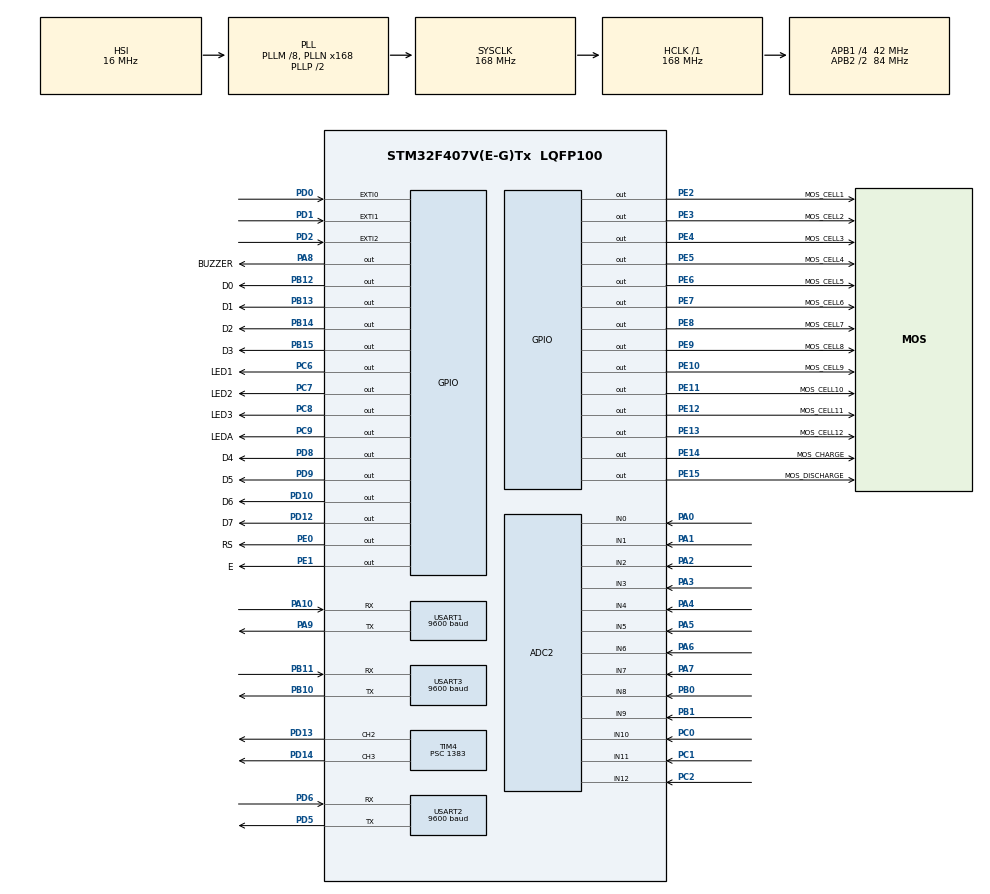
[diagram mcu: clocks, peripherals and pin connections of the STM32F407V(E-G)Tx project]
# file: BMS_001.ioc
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ADC2.Channel-0\#ChannelRegularConversion=ADC_CHANNEL_0
ADC2.Channel-1\#ChannelRegularConversion=ADC_CHANNEL_1
ADC2.Channel-10\#ChannelRegularConversion=ADC_CHANNEL_10
ADC2.Channel-11\#ChannelRegularConversion=ADC_CHANNEL_11
ADC2.Channel-12\#ChannelRegularConversion=ADC_CHANNEL_12
ADC2.Channel-2\#ChannelRegularConversion=ADC_CHANNEL_2
ADC2.Channel-3\#ChannelRegularConversion=ADC_CHANNEL_3
ADC2.Channel-4\#ChannelRegularConversion=ADC_CHANNEL_4
ADC2.Channel-5\#ChannelRegularConversion=ADC_CHANNEL_5
ADC2.Channel-6\#ChannelRegularConversion=ADC_CHANNEL_6
ADC2.Channel-7\#ChannelRegularConversion=ADC_CHANNEL_7
ADC2.Channel-8\#ChannelRegularConversion=ADC_CHANNEL_8
ADC2.Channel-9\#ChannelRegularConversion=ADC_CHANNEL_9
ADC2.ContinuousConvMode=ENABLE
ADC2.DMAContinuousRequests=ENABLE
ADC2.InjNumberOfConversion=0
ADC2.NbrOfConversion=13
ADC2.NbrOfConversionFlag=1
ADC2.Rank-0\#ChannelRegularConversion=1
ADC2.Rank-1\#ChannelRegularConversion=2
ADC2.Rank-10\#ChannelRegularConversion=11
ADC2.Rank-11\#ChannelRegularConversion=12
ADC2.Rank-12\#ChannelRegularConversion=13
ADC2.Rank-2\#ChannelRegularConversion=3
ADC2.Rank-3\#ChannelRegularConversion=4
ADC2.Rank-4\#ChannelRegularConversion=5
ADC2.Rank-5\#ChannelRegularConversion=6
ADC2.Rank-6\#ChannelRegularConversion=7
ADC2.Rank-7\#ChannelRegularConversion=8
ADC2.Rank-8\#ChannelRegularConversion=9
ADC2.Rank-9\#ChannelRegularConversion=10
ADC2.SamplingTime-0\#ChannelRegularConversion=ADC_SAMPLETIME_112CYCLES
ADC2.SamplingTime-1\#ChannelRegularConversion=ADC_SAMPLETIME_112CYCLES
ADC2.SamplingTime-10\#ChannelRegularConversion=ADC_SAMPLETIME_112CYCLES
ADC2.SamplingTime-11\#ChannelRegularConversion=ADC_SAMPLETIME_112CYCLES
ADC2.SamplingTime-12\#ChannelRegularConversion=ADC_SAMPLETIME_112CYCLES
ADC2.SamplingTime-2\#ChannelRegularConversion=ADC_SAMPLETIME_112CYCLES
ADC2.SamplingTime-3\#ChannelRegularConversion=ADC_SAMPLETIME_112CYCLES
ADC2.SamplingTime-4\#ChannelRegularConversion=ADC_SAMPLETIME_112CYCLES
ADC2.SamplingTime-5\#ChannelRegularConversion=ADC_SAMPLETIME_112CYCLES
ADC2.SamplingTime-6\#ChannelRegularConversion=ADC_SAMPLETIME_112CYCLES
ADC2.SamplingTime-7\#ChannelRegularConversion=ADC_SAMPLETIME_112CYCLES
ADC2.SamplingTime-8\#ChannelRegularConversion=ADC_SAMPLETIME_112CYCLES
ADC2.SamplingTime-9\#ChannelRegularConversion=ADC_SAMPLETIME_112CYCLES
ADC2.ScanConvMode=ENABLE
Dma.ADC2.0.Direction=DMA_PERIPH_TO_MEMORY
Dma.ADC2.0.FIFOMode=DMA_FIFOMODE_DISABLE
Dma.ADC2.0.Instance=DMA2_Stream2
Dma.ADC2.0.MemDataAlignment=DMA_MDATAALIGN_WORD
Dma.ADC2.0.MemInc=DMA_MINC_ENABLE
Dma.ADC2.0.Mode=DMA_CIRCULAR
Dma.ADC2.0.PeriphDataAlignment=DMA_PDATAALIGN_WORD
Dma.ADC2.0.PeriphInc=DMA_PINC_DISABLE
Dma.ADC2.0.Priority=DMA_PRIORITY_LOW
Dma.Request0=ADC2
Mcu.Family=STM32F4
Mcu.Name=STM32F407V(E-G)Tx
Mcu.Package=LQFP100
NVIC.DMA2_Stream2_IRQn=true\:0\:0\:false\:false\:true\:false\:true
NVIC.EXTI0_IRQn=true\:0\:0\:false\:false\:true\:true\:true
NVIC.EXTI1_IRQn=true\:0\:0\:false\:false\:true\:true\:true
NVIC.EXTI2_IRQn=true\:0\:0\:false\:false\:true\:true\:true
NVIC.PriorityGroup=NVIC_PRIORITYGROUP_4
NVIC.TIM4_IRQn=true\:0\:0\:false\:false\:true\:true\:true
PA0-WKUP.Signal=ADCx_IN0
PA1.Signal=ADCx_IN1
PA10.Mode=Asynchronous
PA10.Signal=USART1_RX
PA2.Signal=ADCx_IN2
PA3.Signal=ADCx_IN3
PA4.Signal=ADCx_IN4
PA5.Signal=ADCx_IN5
PA6.Signal=ADCx_IN6
PA7.Signal=ADCx_IN7
PA8.GPIO_Label=BUZZER
PA8.Signal=GPIO_Output
PA9.Mode=Asynchronous
PA9.Signal=USART1_TX
PB0.Signal=ADCx_IN8
PB1.Signal=ADCx_IN9
PB10.Mode=Asynchronous
PB10.Signal=USART3_TX
PB11.Mode=Asynchronous
PB11.Signal=USART3_RX
PB12.GPIO_Label=D0
PB12.Signal=GPIO_Output
PB13.GPIO_Label=D1
PB13.Signal=GPIO_Output
PB14.GPIO_Label=D2
PB14.Signal=GPIO_Output
PB15.GPIO_Label=D3
PB15.Signal=GPIO_Output
PC0.Signal=ADCx_IN10
PC1.Signal=ADCx_IN11
PC2.Signal=ADCx_IN12
PC6.GPIO_Label=LED1
PC6.Signal=GPIO_Output
PC7.GPIO_Label=LED2
PC7.Signal=GPIO_Output
PC8.GPIO_Label=LED3
PC8.Signal=GPIO_Output
PC9.GPIO_Label=LEDA
PC9.Signal=GPIO_Output
PD0.Signal=GPXTI0
PD1.Signal=GPXTI1
PD10.GPIO_Label=D6
PD10.Signal=GPIO_Output
PD12.GPIO_Label=D7
PD12.Signal=GPIO_Output
PD13.Signal=S_TIM4_CH2
PD14.Signal=S_TIM4_CH3
PD2.Signal=GPXTI2
PD5.Mode=Asynchronous
PD5.Signal=USART2_TX
PD6.Mode=Asynchronous
PD6.Signal=USART2_RX
PD8.GPIO_Label=D4
PD8.Signal=GPIO_Output
PD9.GPIO_Label=D5
PD9.Signal=GPIO_Output
PE0.GPIO_Label=RS
PE0.Signal=GPIO_Output
PE1.GPIO_Label=E
PE1.Signal=GPIO_Output
PE10.GPIO_Label=MOS_CELL9
PE10.Signal=GPIO_Output
PE11.GPIO_Label=MOS_CELL10
PE11.Signal=GPIO_Output
PE12.GPIO_Label=MOS_CELL11
PE12.Signal=GPIO_Output
PE13.GPIO_Label=MOS_CELL12
PE13.Signal=GPIO_Output
PE14.GPIO_Label=MOS_CHARGE
PE14.Signal=GPIO_Output
PE15.GPIO_Label=MOS_DISCHARGE
PE15.Signal=GPIO_Output
PE2.GPIO_Label=MOS_CELL1
PE2.Signal=GPIO_Output
PE3.GPIO_Label=MOS_CELL2
PE3.Signal=GPIO_Output
PE4.GPIO_Label=MOS_CELL3
PE4.Signal=GPIO_Output
PE5.GPIO_Label=MOS_CELL4
PE5.Signal=GPIO_Output
PE6.GPIO_Label=MOS_CELL5
PE6.Signal=GPIO_Output
PE7.GPIO_Label=MOS_CELL6
PE7.Signal=GPIO_Output
PE8.GPIO_Label=MOS_CELL7
PE8.Signal=GPIO_Output
PE9.GPIO_Label=MOS_CELL8
PE9.Signal=GPIO_Output
PH0-OSC_IN.Mode=HSE-External-Oscillator
PH0-OSC_IN.Signal=RCC_OSC_IN
PH1-OSC_OUT.Mode=HSE-External-Oscillator
PH1-OSC_OUT.Signal=RCC_OSC_OUT
ProjectManager.HeapSize=0x200
ProjectManager.StackSize=0x400
ProjectManager.TargetToolchain=STM32CubeIDE
RCC.48MHZClocksFreq_Value=84000000
RCC.AHBFreq_Value=168000000
RCC.APB1CLKDivider=RCC_HCLK_DIV4
RCC.APB1Freq_Value=42000000
RCC.APB1TimFreq_Value=84000000
RCC.APB2CLKDivider=RCC_HCLK_DIV2
RCC.APB2Freq_Value=84000000
RCC.APB2TimFreq_Value=168000000
RCC.CortexFreq_Value=168000000
RCC.HCLKFreq_Value=168000000
RCC.HSE_VALUE=25000000
RCC.HSI_VALUE=16000000
RCC.LSE_VALUE=32768
RCC.PLLM=8
RCC.PLLN=168
RCC.SYSCLKFreq_VALUE=168000000
RCC.SYSCLKSource=RCC_SYSCLKSOURCE_PLLCLK
RCC.VCOOutputFreq_Value=336000000
SH.ADCx_IN0.0=ADC2_IN0,IN0
SH.ADCx_IN1.0=ADC2_IN1,IN1
SH.ADCx_IN10.0=ADC2_IN10,IN10
SH.ADCx_IN11.0=ADC2_IN11,IN11
SH.ADCx_IN12.0=ADC2_IN12,IN12
SH.ADCx_IN2.0=ADC2_IN2,IN2
SH.ADCx_IN3.0=ADC2_IN3,IN3
SH.ADCx_IN4.0=ADC2_IN4,IN4
SH.ADCx_IN5.0=ADC2_IN5,IN5
SH.ADCx_IN6.0=ADC2_IN6,IN6
SH.ADCx_IN7.0=ADC2_IN7,IN7
SH.ADCx_IN8.0=ADC2_IN8,IN8
SH.ADCx_IN9.0=ADC2_IN9,IN9
SH.S_TIM4_CH2.0=TIM4_CH2,PWM Generation2 CH2
SH.S_TIM4_CH3.0=TIM4_CH3,PWM Generation3 CH3
TIM4.Channel-PWM\ Generation2\ CH2=TIM_CHANNEL_2
TIM4.Channel-PWM\ Generation3\ CH3=TIM_CHANNEL_3
TIM4.Period=254
TIM4.Prescaler=1383
USART1.BaudRate=9600
USART1.VirtualMode=VM_ASYNC
USART2.BaudRate=9600
USART2.VirtualMode=VM_ASYNC
USART3.BaudRate=9600
USART3.VirtualMode=VM_ASYNC
board=custom

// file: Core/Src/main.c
/* USER CODE BEGIN Header */
/**
 ******************************************************************************
 * @file           : main.c
 * @brief          : Main program body
 ******************************************************************************
 * @attention
 *
 * <h2><center>&copy; Copyright (c) 2021 STMicroelectronics.
 * All rights reserved.</center></h2>
 *
 * This software component is licensed by ST under BSD 3-Clause license,
 * the "License"; You may not use this file except in compliance with the
 * License. You may obtain a copy of the License at:
 *                        opensource.org/licenses/BSD-3-Clause
 *
 ******************************************************************************
 */
/* USER CODE END Header */
#include "main.h"

/* USER CODE BEGIN Includes */

#include "stdio.h"
#include "STM_MY_LCD16X2.h"
#include "math.h"
#include "string.h"

/* USER CODE END Includes */

ADC_HandleTypeDef hadc2;
DMA_HandleTypeDef hdma_adc2;

TIM_HandleTypeDef htim4;

UART_HandleTypeDef huart1;
UART_HandleTypeDef huart2;
UART_HandleTypeDef huart3;

/* USER CODE BEGIN PV */

#define VOLTSIZE 12
#define ADCSIZE 13
#define DATASIZE 12	// /f space data(5) space /n /r

#define MEMORY 10

// Loop variables

int i=0, j=0, d=0;
int adc_buffer[ADCSIZE];
int countFlag=0;

float tmp=0;

int testNumber=0;
int selectItem=0;

int redData=0;
int blueData=0;
int greenData=0;

int lowestVoltageIndexDummy = 0;

// Main variables

int adcValues[ADCSIZE] = {0};

double voltVal[VOLTSIZE] = {0};

int voltintVal[VOLTSIZE] = {0};

char voltData[VOLTSIZE][DATASIZE];
char voltValueArray[DATASIZE];

int lowestVoltageIndex = 0;
int highestVoltageIndex = 0;

float softTemp = 0;

int tempValue = 0;
int tempValueOndalik = 0;
int currentValue = 0;
int currentValueOndalik = 0;
int currentValueYuzdelik = 0;

uint8_t getData[MEMORY];
uint8_t mData[MEMORY];

uint8_t testText[]="usart test edildi. \r\n ";

int lowestcellVoltage = 0;
int highestcellVoltage = 0;

/* USER CODE END PV */

void SystemClock_Config(void);
static void MX_GPIO_Init(void);
static void MX_DMA_Init(void);
static void MX_ADC2_Init(void);
static void MX_USART1_UART_Init(void);
static void MX_USART2_UART_Init(void);
static void MX_USART3_UART_Init(void);
static void MX_TIM4_Init(void);

/* USER CODE BEGIN 0 */

void adcRead(ADC_HandleTypeDef* hadc)
{
	if(hadc->Instance == ADC2)
	{
		for(d=0; d<=ADCSIZE; d++)
		{
			adcValues[d] = adc_buffer[d];

		}
	}
}

void adctoArray(void)
{
	int k=0;
	while(k<VOLTSIZE)
	{
		voltVal[k]= ( adcValues[k] * 4.2 / 4096 ) ;
		k++;
	}

	float Rt=0;
	float Rp=10000;
	float T2=273.15+25;
	float Bx=3950;
	float Ka=273.15;
	float vol=0;
	vol=(float)((adcValues[12])*(3.3/4096));
	Rt=(3.3-vol)*10000/vol;
	softTemp =1/(1/T2+log(Rt/Rp)/Bx)-Ka+0.5;

	tempValue = softTemp ;
	int tempValueOndalikDummy = softTemp*10 ;
	tempValueOndalik = tempValueOndalikDummy %10;

	currentValue = adcValues[13];
}

void doublevoltValtoInteger(void)
{
		int k=0;
		while(k<VOLTSIZE)
		{
			int voltDummy;
			voltDummy = voltVal[k] * 100 ;
			voltintVal[k] = voltDummy ;
			k++;
		}
}

void voltstoDigit(void)
{
	int digitBindebirler;
	int digitBindeonlar;
	int digitBindeyuzler;
	int digitTamkisim;

	for(i=0; i<=VOLTSIZE ; i++)
	{
		digitTamkisim = voltVal[i] ; // double to float
		voltData[i][0] = digitTamkisim +48;

		voltData[i][1]='.';

		digitBindeyuzler = voltVal[i] * 1000;
		digitBindeyuzler = digitBindeyuzler % 1000 / 100 ;
		voltData[i][2] =  digitBindeyuzler +48;

		digitBindeonlar = voltVal[i] * 1000;
		digitBindeonlar = digitBindeonlar % 100 / 10 ;
		voltData[i][3] =  digitBindeonlar +48;

		digitBindebirler = voltVal[i] * 1000;
		digitBindebirler = digitBindebirler % 10;
		voltData[i][4] =  digitBindebirler +48;
	}

}

void datatoArray(int dataNumber)
{
		voltValueArray[0]= 12;
		voltValueArray[1]= 32;
		voltValueArray[7]= 32;
		voltValueArray[8]= 10;
		voltValueArray[9]= 13;

		for(i=0 ; i<=4; i++)
		{
			voltValueArray[i+2]=voltData[dataNumber][i];
		}

}

int lowestVoltage_Conf(int *voltValues)
{
	int lowestVoltage = voltValues[0] ;
	int indexLow=0;
	for(i=0; i<VOLTSIZE ; i++ )
	{
		if( voltValues[i] <  lowestVoltage )
		{
			 lowestVoltage = voltValues[i];
			 indexLow=i;
		}
	}
	lowestVoltageIndex = indexLow ;
	return lowestVoltage;
}

int highestVoltage_Conf(int *voltValues)
{
	int highestVoltage = voltValues[0] ;
	int indexHigh=0;
	for(i=0; i<VOLTSIZE ; i++ )
	{
		if( voltValues[i] >  highestVoltage )
		{
			highestVoltage = voltValues[i];
			indexHigh=i;
		}
	}
	highestVoltageIndex = indexHigh ;
	return highestVoltage;
}

void dataSend(void)
{
			sprintf(mData,"\f TEMPERATURE : %d.%d \n\r",tempValue,tempValueOndalik); // sıcaklık degiskeni dataya aktarıldı
			HAL_UART_Transmit(&huart2, (uint8_t*)mData , strlen(mData), 1000);

			sprintf(mData,"\f CURRENT : %d.%d%d \n\r",currentValue%10,currentValueOndalik,currentValueYuzdelik); // sıcaklık degiskeni dataya aktarıldı
			HAL_UART_Transmit(&huart2, (uint8_t*)mData , strlen(mData), 1000);

			HAL_Delay(10);

			for(j=0; j<VOLTSIZE; j++)
			{
				sprintf(mData,"\f CELL %d : \r",j+1);
				HAL_UART_Transmit(&huart2, (uint8_t*)mData , strlen(mData), 1000);
				datatoArray(j);
				HAL_UART_Transmit(&huart2, (char*)voltValueArray , strlen(voltValueArray), 1000);
				HAL_GPIO_WritePin(GPIOC, GPIO_PIN_8, GPIO_PIN_RESET);
				HAL_Delay(25);
				HAL_GPIO_WritePin(GPIOC, GPIO_PIN_8, GPIO_PIN_SET);
			}

			sprintf(mData,"\f HCVI : %d \n\r",highestVoltageIndex + 1);
			HAL_UART_Transmit(&huart2, (uint8_t*)mData , strlen(mData), 1000);
			sprintf(mData,"\f HCVV : %d.%d \n\r",highestcellVoltage/100,highestcellVoltage%100);
			HAL_UART_Transmit(&huart2, (uint8_t*)mData , strlen(mData), 1000);
			sprintf(mData,"\f LCVI : %d \n\r",lowestVoltageIndex + 1 );
			HAL_UART_Transmit(&huart2, (uint8_t*)mData , strlen(mData), 1000);
			sprintf(mData,"\f LCVV : %d.%d \n\r",lowestcellVoltage/100,lowestcellVoltage%100);
			HAL_UART_Transmit(&huart2, (uint8_t*)mData , strlen(mData), 1000);
			sprintf(mData,"\f RGBCOLOR RED:%d BLUE:%d GREEN:%d \n\r",redData, blueData, greenData);
			HAL_UART_Transmit(&huart2, (uint8_t*)mData , strlen(mData), 1000);
}

void dataprintLCD(void)
{
	int selectedData = 0;
	selectedData = selectItem ;
	if(selectedData>12)
	{
		selectedData=0;
		selectItem=0;
	}
	switch(selectedData)
	{
	case 0:
		LCD1602_setCursor(1, 1);
		LCD1602_print("HUCRE 1=");
		LCD1602_setCursor(1, 10);
		LCD1602_print(voltData[0]);
		LCD1602_setCursor(1, 15);
		LCD1602_print("V");
		break;
	case 1:
		LCD1602_setCursor(1, 1);
		LCD1602_print("HUCRE 2=");
		LCD1602_setCursor(1, 10);
		LCD1602_print(voltData[1]);
		LCD1602_setCursor(1, 15);
		LCD1602_print("V");
		break;
	case 2:
		LCD1602_setCursor(1, 1);
		LCD1602_print("HUCRE 3=");
		LCD1602_setCursor(1, 10);
		LCD1602_print(voltData[2]);
		LCD1602_setCursor(1, 15);
		LCD1602_print("V");
		break;
	case 3:
		LCD1602_setCursor(1, 1);
		LCD1602_print("HUCRE 4=");
		LCD1602_setCursor(1, 10);
		LCD1602_print(voltData[3]);
		LCD1602_setCursor(1, 15);
		LCD1602_print("V");
		break;
	case 4:
		LCD1602_setCursor(1, 1);
		LCD1602_print("HUCRE 5=");
		LCD1602_setCursor(1, 10);
		LCD1602_print(voltData[4]);
		LCD1602_setCursor(1, 15);
		LCD1602_print("V");
		break;
	case 5:
		LCD1602_setCursor(1, 1);
		LCD1602_print("HUCRE 6=");
		LCD1602_setCursor(1, 10);
		LCD1602_print(voltData[5]);
		LCD1602_setCursor(1, 15);
		LCD1602_print("V");
		break;
	case 6:
		LCD1602_setCursor(1, 1);
		LCD1602_print("HUCRE 7=");
		LCD1602_setCursor(1, 10);
		LCD1602_print(voltData[6]);
		LCD1602_setCursor(1, 15);
		LCD1602_print("V");
		break;
	case 7:
		LCD1602_setCursor(1, 1);
		LCD1602_print("HUCRE 8=");
		LCD1602_setCursor(1, 10);
		LCD1602_print(voltData[7]);
		LCD1602_setCursor(1, 15);
		LCD1602_print("V");
		break;
	case 8:
		LCD1602_setCursor(1, 1);
		LCD1602_print("HUCRE 9=");
		LCD1602_setCursor(1, 10);
		LCD1602_print(voltData[8]);
		LCD1602_setCursor(1, 15);
		LCD1602_print("V");
		break;
	case 9:
		LCD1602_setCursor(1, 1);
		LCD1602_print("HUCRE10=");
		LCD1602_setCursor(1, 10);
		LCD1602_print(voltData[9]);
		LCD1602_setCursor(1, 15);
		LCD1602_print("V");
		break;
	case 10:
		LCD1602_setCursor(1, 1);
		LCD1602_print("HUCRE11=");
		LCD1602_setCursor(1, 10);
		LCD1602_print(voltData[10]);
		LCD1602_setCursor(1, 15);
		LCD1602_print("V");
		break;
	case 11:
		LCD1602_setCursor(1, 1);
		LCD1602_print("HUCRE12=");
		LCD1602_setCursor(1, 10);
		LCD1602_print(voltData[11]);
		LCD1602_setCursor(1, 15);
		LCD1602_print("V");
		break;

	default:
		LCD1602_clear();
	}

	LCD1602_setCursor(2, 1);
	LCD1602_print("T=");
	LCD1602_setCursor(2, 3);
	LCD1602_PrintInt(tempValue);
	LCD1602_setCursor(2, 5);
	LCD1602_print(".");
	LCD1602_setCursor(2, 6);
	LCD1602_PrintInt(tempValueOndalik);
	LCD1602_setCursor(2, 7);
	LCD1602_print("C");

	LCD1602_setCursor(2, 9);
	LCD1602_print("I=");
	LCD1602_setCursor(2, 11);
	LCD1602_PrintInt(currentValue%10);
	LCD1602_setCursor(2, 12);
	LCD1602_print(".");
	LCD1602_setCursor(2, 13);
	LCD1602_PrintInt(currentValueOndalik);
	LCD1602_setCursor(2, 14);
	LCD1602_PrintInt(currentValueYuzdelik);
	LCD1602_setCursor(2, 15);
	LCD1602_print("A");

	LCD1602_noBlink();
	LCD1602_noCursor();
}

void rgbSet(uint8_t red,uint8_t blue,uint8_t green)
{
	htim4.Instance->CCR1=red;
	htim4.Instance->CCR2=blue;
	htim4.Instance->CCR3=green;
}

void rgbConfig(int rawTemp)
{
	if(rawTemp>=40)
	{
		redData=255;
		blueData=0;
		greenData=0;
	}
	else if(rawTemp>0 && rawTemp<40)
	{
		for(i=1; i<=39;i++)
		{
			if(rawTemp==i)
			{
				redData = i*6;
				blueData = 255 - i*6;
				greenData = 123 - i*3;
			}
		}
	}
	else
	{
		redData=0;
		blueData=  255;
		greenData = 123;
	}

	rgbSet(redData, blueData, greenData);
}

void cellBalancing(int lowestVoltageIndex, int* voltintVal)
{

	if(lowestVoltageIndexDummy != lowestVoltageIndex )
	{

		for(i=2; i<VOLTSIZE; i++)	// REV
			{
				if(i==lowestVoltageIndex)
				{
					HAL_GPIO_WritePin(GPIOE, 0x0001 << i, GPIO_PIN_RESET);
				}
				else
				{
					HAL_GPIO_WritePin(GPIOE, 0x0001 << i, GPIO_PIN_SET);
				}
			}

			lowestVoltageIndexDummy = lowestVoltageIndex ;

	}

	int voltValTOPvalue = voltintVal[lowestVoltageIndex]+40 ;
	int voltValBOTvalue = voltintVal[lowestVoltageIndex]-40 ;

	for(i=0; i<VOLTSIZE; i++)
	{
		if((voltintVal[i] <= voltValTOPvalue) && (voltintVal[i] >= voltValBOTvalue))
			{
				HAL_GPIO_WritePin(GPIOE, 0x0001 << i+2, GPIO_PIN_RESET);
			}
	}

}

/* USER CODE END 0 */

int main(void)
{

  /* MCU Configuration--------------------------------------------------------*/

  /* Reset of all peripherals, Initializes the Flash interface and the Systick. */
  HAL_Init();

  /* Configure the system clock */
  SystemClock_Config();

  /* Initialize all configured peripherals */
  MX_GPIO_Init();
  MX_DMA_Init();
  MX_ADC2_Init();
  MX_USART1_UART_Init();
  MX_USART2_UART_Init();
  MX_USART3_UART_Init();
  MX_TIM4_Init();
  /* USER CODE BEGIN 2 */

  LCD1602_Begin8BIT(RS_GPIO_Port, RS_Pin, E_Pin, D0_GPIO_Port, D0_Pin, D1_Pin, D2_Pin, D3_Pin, D4_GPIO_Port, D4_Pin, D5_Pin, D6_Pin, D7_Pin);
  LCD1602_setCursor(1, 1);
  LCD1602_print("BMS");
  LCD1602_setCursor(2, 1);
  LCD1602_print("4.06.2021");

  HAL_TIM_PWM_Start(&htim4,TIM_CHANNEL_1);
  HAL_TIM_PWM_Start(&htim4,TIM_CHANNEL_2);
  HAL_TIM_PWM_Start(&htim4,TIM_CHANNEL_3);

  HAL_ADC_Start_DMA(&hadc2, adc_buffer, 13);

  /* USER CODE END 2 */

  /* Infinite loop */
	while (1)
	{

    /* USER CODE BEGIN 3 */

		adcRead(&hadc2);
		adctoArray();
		doublevoltValtoInteger();
		voltstoDigit();

		lowestcellVoltage = lowestVoltage_Conf(voltintVal);
		highestcellVoltage = highestVoltage_Conf(voltintVal);

		cellBalancing(lowestVoltageIndex, voltintVal);

		rgbConfig(tempValue);
		dataSend();
		dataprintLCD();

		/*
		 *
		HAL_GPIO_TogglePin(GPIOE, GPIO_PIN_2);
		HAL_Delay(100);
		HAL_GPIO_TogglePin(GPIOE, GPIO_PIN_3);
		HAL_Delay(100);
		HAL_GPIO_TogglePin(GPIOE, GPIO_PIN_4);
		HAL_Delay(100);
		HAL_GPIO_TogglePin(GPIOE, GPIO_PIN_5);
		HAL_Delay(100);
		HAL_GPIO_TogglePin(GPIOE, GPIO_PIN_6);
		HAL_Delay(100);
		HAL_GPIO_TogglePin(GPIOE, GPIO_PIN_7);
		HAL_Delay(100);
		HAL_GPIO_TogglePin(GPIOE, GPIO_PIN_8);
		HAL_Delay(100);
		HAL_GPIO_TogglePin(GPIOE, GPIO_PIN_9);
		HAL_Delay(100);
		HAL_GPIO_TogglePin(GPIOE, GPIO_PIN_10);
		HAL_Delay(100);
		HAL_GPIO_TogglePin(GPIOE, GPIO_PIN_11);
		HAL_Delay(100);
		HAL_GPIO_TogglePin(GPIOE, GPIO_PIN_12);
		HAL_Delay(100);
		HAL_GPIO_TogglePin(GPIOE, GPIO_PIN_13);
		HAL_Delay(100);
		HAL_GPIO_TogglePin(GPIOE, GPIO_PIN_14);
		HAL_Delay(100);
		HAL_GPIO_TogglePin(GPIOE, GPIO_PIN_15);
		HAL_Delay(100);
		 *
		 */

	}
  /* USER CODE END 3 */
}

void SystemClock_Config(void)
{
  RCC_OscInitTypeDef RCC_OscInitStruct = {0};
  RCC_ClkInitTypeDef RCC_ClkInitStruct = {0};

  /** Configure the main internal regulator output voltage
  */
  __HAL_RCC_PWR_CLK_ENABLE();
  __HAL_PWR_VOLTAGESCALING_CONFIG(PWR_REGULATOR_VOLTAGE_SCALE1);
  /** Initializes the RCC Oscillators according to the specified parameters
  * in the RCC_OscInitTypeDef structure.
  */
  RCC_OscInitStruct.OscillatorType = RCC_OSCILLATORTYPE_HSI;
  RCC_OscInitStruct.HSIState = RCC_HSI_ON;
  RCC_OscInitStruct.HSICalibrationValue = RCC_HSICALIBRATION_DEFAULT;
  RCC_OscInitStruct.PLL.PLLState = RCC_PLL_ON;
  RCC_OscInitStruct.PLL.PLLSource = RCC_PLLSOURCE_HSI;
  RCC_OscInitStruct.PLL.PLLM = 8;
  RCC_OscInitStruct.PLL.PLLN = 168;
  RCC_OscInitStruct.PLL.PLLP = RCC_PLLP_DIV2;
  RCC_OscInitStruct.PLL.PLLQ = 4;
  if (HAL_RCC_OscConfig(&RCC_OscInitStruct) != HAL_OK)
  {
    Error_Handler();
  }
  /** Initializes the CPU, AHB and APB buses clocks
  */
  RCC_ClkInitStruct.ClockType = RCC_CLOCKTYPE_HCLK|RCC_CLOCKTYPE_SYSCLK
                              |RCC_CLOCKTYPE_PCLK1|RCC_CLOCKTYPE_PCLK2;
  RCC_ClkInitStruct.SYSCLKSource = RCC_SYSCLKSOURCE_PLLCLK;
  RCC_ClkInitStruct.AHBCLKDivider = RCC_SYSCLK_DIV1;
  RCC_ClkInitStruct.APB1CLKDivider = RCC_HCLK_DIV4;
  RCC_ClkInitStruct.APB2CLKDivider = RCC_HCLK_DIV2;

  if (HAL_RCC_ClockConfig(&RCC_ClkInitStruct, FLASH_LATENCY_5) != HAL_OK)
  {
    Error_Handler();
  }
}

static void MX_ADC2_Init(void)
{

  ADC_ChannelConfTypeDef sConfig = {0};

  /** Configure the global features of the ADC (Clock, Resolution, Data Alignment and number of conversion)
  */
  hadc2.Instance = ADC2;
  hadc2.Init.ClockPrescaler = ADC_CLOCK_SYNC_PCLK_DIV4;
  hadc2.Init.Resolution = ADC_RESOLUTION_12B;
  hadc2.Init.ScanConvMode = ENABLE;
  hadc2.Init.ContinuousConvMode = ENABLE;
  hadc2.Init.DiscontinuousConvMode = DISABLE;
  hadc2.Init.ExternalTrigConvEdge = ADC_EXTERNALTRIGCONVEDGE_NONE;
  hadc2.Init.ExternalTrigConv = ADC_SOFTWARE_START;
  hadc2.Init.DataAlign = ADC_DATAALIGN_RIGHT;
  hadc2.Init.NbrOfConversion = 13;
  hadc2.Init.DMAContinuousRequests = ENABLE;
  hadc2.Init.EOCSelection = ADC_EOC_SINGLE_CONV;
  if (HAL_ADC_Init(&hadc2) != HAL_OK)
  {
    Error_Handler();
  }
  /** Configure for the selected ADC regular channel its corresponding rank in the sequencer and its sample time.
  */
  sConfig.Channel = ADC_CHANNEL_0;
  sConfig.Rank = 1;
  sConfig.SamplingTime = ADC_SAMPLETIME_112CYCLES;
  if (HAL_ADC_ConfigChannel(&hadc2, &sConfig) != HAL_OK)
  {
    Error_Handler();
  }
  /** Configure for the selected ADC regular channel its corresponding rank in the sequencer and its sample time.
  */
  sConfig.Channel = ADC_CHANNEL_1;
  sConfig.Rank = 2;
  if (HAL_ADC_ConfigChannel(&hadc2, &sConfig) != HAL_OK)
  {
    Error_Handler();
  }
  /** Configure for the selected ADC regular channel its corresponding rank in the sequencer and its sample time.
  */
  sConfig.Channel = ADC_CHANNEL_2;
  sConfig.Rank = 3;
  if (HAL_ADC_ConfigChannel(&hadc2, &sConfig) != HAL_OK)
  {
    Error_Handler();
  }
  /** Configure for the selected ADC regular channel its corresponding rank in the sequencer and its sample time.
  */
  sConfig.Channel = ADC_CHANNEL_3;
  sConfig.Rank = 4;
  if (HAL_ADC_ConfigChannel(&hadc2, &sConfig) != HAL_OK)
  {
    Error_Handler();
  }
  /** Configure for the selected ADC regular channel its corresponding rank in the sequencer and its sample time.
  */
  sConfig.Channel = ADC_CHANNEL_4;
  sConfig.Rank = 5;
  if (HAL_ADC_ConfigChannel(&hadc2, &sConfig) != HAL_OK)
  {
    Error_Handler();
  }
  /** Configure for the selected ADC regular channel its corresponding rank in the sequencer and its sample time.
  */
  sConfig.Channel = ADC_CHANNEL_5;
  sConfig.Rank = 6;
  if (HAL_ADC_ConfigChannel(&hadc2, &sConfig) != HAL_OK)
  {
    Error_Handler();
  }
  /** Configure for the selected ADC regular channel its corresponding rank in the sequencer and its sample time.
  */
  sConfig.Channel = ADC_CHANNEL_6;
  sConfig.Rank = 7;
  if (HAL_ADC_ConfigChannel(&hadc2, &sConfig) != HAL_OK)
  {
    Error_Handler();
  }
  /** Configure for the selected ADC regular channel its corresponding rank in the sequencer and its sample time.
  */
  sConfig.Channel = ADC_CHANNEL_7;
  sConfig.Rank = 8;
  if (HAL_ADC_ConfigChannel(&hadc2, &sConfig) != HAL_OK)
  {
    Error_Handler();
  }
  /** Configure for the selected ADC regular channel its corresponding rank in the sequencer and its sample time.
  */
  sConfig.Channel = ADC_CHANNEL_8;
  sConfig.Rank = 9;
  if (HAL_ADC_ConfigChannel(&hadc2, &sConfig) != HAL_OK)
  {
    Error_Handler();
  }
  /** Configure for the selected ADC regular channel its corresponding rank in the sequencer and its sample time.
  */
  sConfig.Channel = ADC_CHANNEL_9;
  sConfig.Rank = 10;
  if (HAL_ADC_ConfigChannel(&hadc2, &sConfig) != HAL_OK)
  {
    Error_Handler();
  }
  /** Configure for the selected ADC regular channel its corresponding rank in the sequencer and its sample time.
  */
  sConfig.Channel = ADC_CHANNEL_10;
  sConfig.Rank = 11;
  if (HAL_ADC_ConfigChannel(&hadc2, &sConfig) != HAL_OK)
  {
    Error_Handler();
  }
  /** Configure for the selected ADC regular channel its corresponding rank in the sequencer and its sample time.
  */
  sConfig.Channel = ADC_CHANNEL_11;
  sConfig.Rank = 12;
  if (HAL_ADC_ConfigChannel(&hadc2, &sConfig) != HAL_OK)
  {
    Error_Handler();
  }
  /** Configure for the selected ADC regular channel its corresponding rank in the sequencer and its sample time.
  */
  sConfig.Channel = ADC_CHANNEL_12;
  sConfig.Rank = 13;
  if (HAL_ADC_ConfigChannel(&hadc2, &sConfig) != HAL_OK)
  {
    Error_Handler();
  }

}

static void MX_TIM4_Init(void)
{

  TIM_MasterConfigTypeDef sMasterConfig = {0};
  TIM_OC_InitTypeDef sConfigOC = {0};

  htim4.Instance = TIM4;
  htim4.Init.Prescaler = 1383;
  htim4.Init.CounterMode = TIM_COUNTERMODE_UP;
  htim4.Init.Period = 254;
  htim4.Init.ClockDivision = TIM_CLOCKDIVISION_DIV1;
  htim4.Init.AutoReloadPreload = TIM_AUTORELOAD_PRELOAD_DISABLE;
  if (HAL_TIM_PWM_Init(&htim4) != HAL_OK)
  {
    Error_Handler();
  }
  sMasterConfig.MasterOutputTrigger = TIM_TRGO_RESET;
  sMasterConfig.MasterSlaveMode = TIM_MASTERSLAVEMODE_DISABLE;
  if (HAL_TIMEx_MasterConfigSynchronization(&htim4, &sMasterConfig) != HAL_OK)
  {
    Error_Handler();
  }
  sConfigOC.OCMode = TIM_OCMODE_PWM1;
  sConfigOC.Pulse = 0;
  sConfigOC.OCPolarity = TIM_OCPOLARITY_HIGH;
  sConfigOC.OCFastMode = TIM_OCFAST_DISABLE;
  if (HAL_TIM_PWM_ConfigChannel(&htim4, &sConfigOC, TIM_CHANNEL_2) != HAL_OK)
  {
    Error_Handler();
  }
  if (HAL_TIM_PWM_ConfigChannel(&htim4, &sConfigOC, TIM_CHANNEL_3) != HAL_OK)
  {
    Error_Handler();
  }
  HAL_TIM_MspPostInit(&htim4);

}

static void MX_USART1_UART_Init(void)
{

  huart1.Instance = USART1;
  huart1.Init.BaudRate = 9600;
  huart1.Init.WordLength = UART_WORDLENGTH_8B;
  huart1.Init.StopBits = UART_STOPBITS_1;
  huart1.Init.Parity = UART_PARITY_NONE;
  huart1.Init.Mode = UART_MODE_TX_RX;
  huart1.Init.HwFlowCtl = UART_HWCONTROL_NONE;
  huart1.Init.OverSampling = UART_OVERSAMPLING_16;
  if (HAL_UART_Init(&huart1) != HAL_OK)
  {
    Error_Handler();
  }

}

static void MX_USART2_UART_Init(void)
{

  huart2.Instance = USART2;
  huart2.Init.BaudRate = 9600;
  huart2.Init.WordLength = UART_WORDLENGTH_8B;
  huart2.Init.StopBits = UART_STOPBITS_1;
  huart2.Init.Parity = UART_PARITY_NONE;
  huart2.Init.Mode = UART_MODE_TX_RX;
  huart2.Init.HwFlowCtl = UART_HWCONTROL_NONE;
  huart2.Init.OverSampling = UART_OVERSAMPLING_16;
  if (HAL_UART_Init(&huart2) != HAL_OK)
  {
    Error_Handler();
  }

}

static void MX_USART3_UART_Init(void)
{

  huart3.Instance = USART3;
  huart3.Init.BaudRate = 9600;
  huart3.Init.WordLength = UART_WORDLENGTH_8B;
  huart3.Init.StopBits = UART_STOPBITS_1;
  huart3.Init.Parity = UART_PARITY_NONE;
  huart3.Init.Mode = UART_MODE_TX_RX;
  huart3.Init.HwFlowCtl = UART_HWCONTROL_NONE;
  huart3.Init.OverSampling = UART_OVERSAMPLING_16;
  if (HAL_UART_Init(&huart3) != HAL_OK)
  {
    Error_Handler();
  }

}

static void MX_DMA_Init(void)
{

  /* DMA controller clock enable */
  __HAL_RCC_DMA2_CLK_ENABLE();

  /* DMA interrupt init */
  /* DMA2_Stream2_IRQn interrupt configuration */
  HAL_NVIC_SetPriority(DMA2_Stream2_IRQn, 0, 0);
  HAL_NVIC_EnableIRQ(DMA2_Stream2_IRQn);

}

static void MX_GPIO_Init(void)
{
  GPIO_InitTypeDef GPIO_InitStruct = {0};

  /* GPIO Ports Clock Enable */
  __HAL_RCC_GPIOE_CLK_ENABLE();
  __HAL_RCC_GPIOH_CLK_ENABLE();
  __HAL_RCC_GPIOC_CLK_ENABLE();
  __HAL_RCC_GPIOA_CLK_ENABLE();
  __HAL_RCC_GPIOB_CLK_ENABLE();
  __HAL_RCC_GPIOD_CLK_ENABLE();

  /*Configure GPIO pin Output Level */
  HAL_GPIO_WritePin(GPIOE, MOS_CELL1_Pin|MOS_CELL2_Pin|MOS_CELL3_Pin|MOS_CELL4_Pin
                          |MOS_CELL5_Pin|MOS_CELL6_Pin|MOS_CELL7_Pin|MOS_CELL8_Pin
                          |MOS_CELL9_Pin|MOS_CELL10_Pin|MOS_CELL11_Pin|MOS_CELL12_Pin
                          |MOS_CHARGE_Pin|MOS_DISCHARGE_Pin|RS_Pin|E_Pin, GPIO_PIN_RESET);

  /*Configure GPIO pin Output Level */
  HAL_GPIO_WritePin(GPIOB, D0_Pin|D1_Pin|D2_Pin|D3_Pin, GPIO_PIN_RESET);

  /*Configure GPIO pin Output Level */
  HAL_GPIO_WritePin(GPIOD, D4_Pin|D5_Pin|D6_Pin|D7_Pin, GPIO_PIN_RESET);

  /*Configure GPIO pin Output Level */
  HAL_GPIO_WritePin(GPIOC, LED1_Pin|LED2_Pin|LED3_Pin|LEDA_Pin, GPIO_PIN_RESET);

  /*Configure GPIO pin Output Level */
  HAL_GPIO_WritePin(BUZZER_GPIO_Port, BUZZER_Pin, GPIO_PIN_RESET);

  /*Configure GPIO pins : MOS_CELL1_Pin MOS_CELL2_Pin MOS_CELL3_Pin MOS_CELL4_Pin
                           MOS_CELL5_Pin MOS_CELL6_Pin MOS_CELL7_Pin MOS_CELL8_Pin
                           MOS_CELL9_Pin MOS_CELL10_Pin MOS_CELL11_Pin MOS_CELL12_Pin
                           MOS_CHARGE_Pin MOS_DISCHARGE_Pin RS_Pin E_Pin */
  GPIO_InitStruct.Pin = MOS_CELL1_Pin|MOS_CELL2_Pin|MOS_CELL3_Pin|MOS_CELL4_Pin
                          |MOS_CELL5_Pin|MOS_CELL6_Pin|MOS_CELL7_Pin|MOS_CELL8_Pin
                          |MOS_CELL9_Pin|MOS_CELL10_Pin|MOS_CELL11_Pin|MOS_CELL12_Pin
                          |MOS_CHARGE_Pin|MOS_DISCHARGE_Pin|RS_Pin|E_Pin;
  GPIO_InitStruct.Mode = GPIO_MODE_OUTPUT_PP;
  GPIO_InitStruct.Pull = GPIO_NOPULL;
  GPIO_InitStruct.Speed = GPIO_SPEED_FREQ_LOW;
  HAL_GPIO_Init(GPIOE, &GPIO_InitStruct);

  /*Configure GPIO pins : D0_Pin D1_Pin D2_Pin D3_Pin */
  GPIO_InitStruct.Pin = D0_Pin|D1_Pin|D2_Pin|D3_Pin;
  GPIO_InitStruct.Mode = GPIO_MODE_OUTPUT_PP;
  GPIO_InitStruct.Pull = GPIO_NOPULL;
  GPIO_InitStruct.Speed = GPIO_SPEED_FREQ_LOW;
  HAL_GPIO_Init(GPIOB, &GPIO_InitStruct);

  /*Configure GPIO pins : D4_Pin D5_Pin D6_Pin D7_Pin */
  GPIO_InitStruct.Pin = D4_Pin|D5_Pin|D6_Pin|D7_Pin;
  GPIO_InitStruct.Mode = GPIO_MODE_OUTPUT_PP;
  GPIO_InitStruct.Pull = GPIO_NOPULL;
  GPIO_InitStruct.Speed = GPIO_SPEED_FREQ_LOW;
  HAL_GPIO_Init(GPIOD, &GPIO_InitStruct);

  /*Configure GPIO pins : LED1_Pin LED2_Pin LED3_Pin LEDA_Pin */
  GPIO_InitStruct.Pin = LED1_Pin|LED2_Pin|LED3_Pin|LEDA_Pin;
  GPIO_InitStruct.Mode = GPIO_MODE_OUTPUT_PP;
  GPIO_InitStruct.Pull = GPIO_NOPULL;
  GPIO_InitStruct.Speed = GPIO_SPEED_FREQ_LOW;
  HAL_GPIO_Init(GPIOC, &GPIO_InitStruct);

  /*Configure GPIO pin : BUZZER_Pin */
  GPIO_InitStruct.Pin = BUZZER_Pin;
  GPIO_InitStruct.Mode = GPIO_MODE_OUTPUT_PP;
  GPIO_InitStruct.Pull = GPIO_NOPULL;
  GPIO_InitStruct.Speed = GPIO_SPEED_FREQ_LOW;
  HAL_GPIO_Init(BUZZER_GPIO_Port, &GPIO_InitStruct);

  /*Configure GPIO pins : PD0 PD1 PD2 */
  GPIO_InitStruct.Pin = GPIO_PIN_0|GPIO_PIN_1|GPIO_PIN_2;
  GPIO_InitStruct.Mode = GPIO_MODE_IT_RISING;
  GPIO_InitStruct.Pull = GPIO_NOPULL;
  HAL_GPIO_Init(GPIOD, &GPIO_InitStruct);

  /* EXTI interrupt init*/
  HAL_NVIC_SetPriority(EXTI0_IRQn, 0, 0);
  HAL_NVIC_EnableIRQ(EXTI0_IRQn);

  HAL_NVIC_SetPriority(EXTI1_IRQn, 0, 0);
  HAL_NVIC_EnableIRQ(EXTI1_IRQn);

  HAL_NVIC_SetPriority(EXTI2_IRQn, 0, 0);
  HAL_NVIC_EnableIRQ(EXTI2_IRQn);

}

void Error_Handler(void)
{
	__disable_irq();
	while (1)
	{
	}
}

/************************ (C) COPYRIGHT STMicroelectronics *****END OF FILE****/
